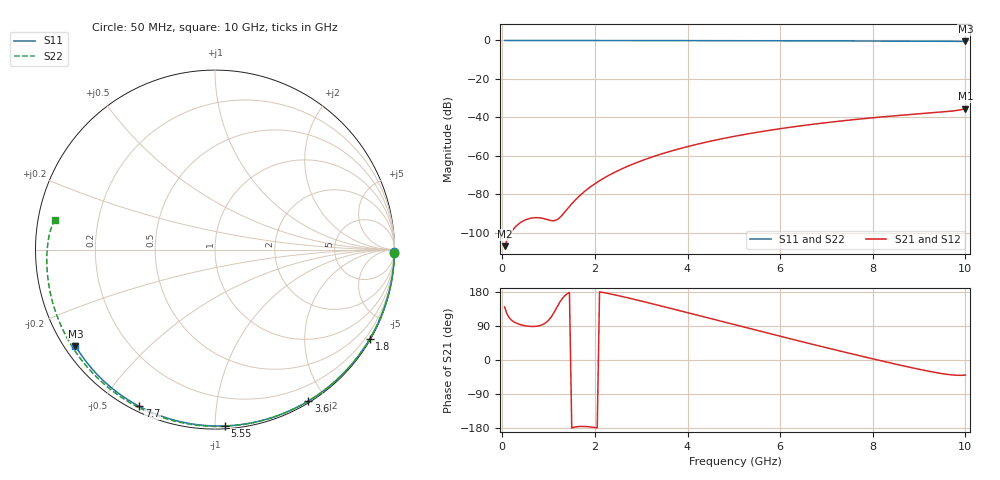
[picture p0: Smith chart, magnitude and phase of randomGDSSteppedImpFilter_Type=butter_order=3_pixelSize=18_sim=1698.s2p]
! freq	dB(S11)	phase(S11)	dB(S12)	phase(S12)
!  dB(S21)	phase(S21)	dB(S22)	phase(S22)
!S-par simulation data
#  GHz  S  DB  R 50
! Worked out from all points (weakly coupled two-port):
!   200 points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, 50 MHz to 10 GHz, reference 50 ohm
!   highest |S21| = -35.42 dB at 10 GHz (marker M1); lowest = -107.0 dB at 50 MHz (marker M2)
!   lowest |S11| = -0.5 dB at 10 GHz (marker M3), VSWR 35.10, Z = 1.56 - j15.6 ohm
!   |S11| at or under -10 dB: nowhere
!   |S22| runs from -0.8 to 0.0 dB; largest |S21 - S12| = 0
!   S11 on the Smith chart (normalised r, x): 50 MHz: open; 1.8 GHz: 0.03, -3.74; 3.6 GHz: 0.02, -1.79; 5.55 GHz: 0.02, -1.06; 7.7 GHz: 0.02, -0.63; 10 GHz: 0.03, -0.31
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0.05  -0.00 -0.8  -106.98 140.0  -106.98 140.0  -0.00 -1.1
0.45  -0.01 -7.6  -93.86 91.5  -93.86 91.5  -0.01 -9.5
0.85  -0.02 -14.3  -92.42 92.4  -92.42 92.4  -0.02 -17.9
1.7  -0.04 -28.3  -80.11 -175.3  -80.11 -175.3  -0.05 -35.5
1.75  -0.04 -29.1  -79.06 -175.3  -79.06 -175.3  -0.05 -36.5
1.8  -0.04 -29.9  -78.06 -175.6  -78.06 -175.6  -0.05 -37.5
2.1  -0.04 -34.8  -72.95 179.9  -72.95 179.9  -0.06 -43.6
2.5  -0.05 -41.2  -67.69 170.0  -67.69 170.0  -0.07 -51.5
2.9  -0.06 -47.5  -63.52 158.6  -63.52 158.6  -0.08 -59.4
3.4  -0.07 -55.3  -59.30 143.5  -59.30 143.5  -0.09 -69.0
3.6  -0.08 -58.3  -57.83 137.3  -57.83 137.3  -0.10 -72.8
4.3  -0.10 -68.8  -53.44 115.5  -53.44 115.5  -0.12 -85.8
5.05  -0.12 -79.8  -49.68 92.0  -49.68 92.0  -0.15 -99.3
5.55  -0.14 -86.9  -47.57 76.5  -47.57 76.5  -0.18 -108.1
6.1  -0.17 -94.5  -45.53 59.6  -45.53 59.6  -0.21 -117.7
6.7  -0.20 -102.6  -43.60 41.4  -43.60 41.4  -0.25 -128.0
7.7  -0.27 -115.8  -40.90 11.7  -40.90 11.7  -0.33 -145.3
8.35  -0.32 -124.2  -39.44 -6.9  -39.44 -6.9  -0.40 -156.8
8.85  -0.37 -130.7  -38.44 -20.6  -38.44 -20.6  -0.46 -165.9
9.35  -0.42 -137.1  -37.50 -32.9  -37.50 -32.9  -0.54 -175.6
9.8  -0.47 -142.8  -36.44 -40.2  -36.44 -40.2  -0.66 174.7
10  -0.50 -145.4  -35.42 -39.7  -35.42 -39.7  -0.84 169.4
